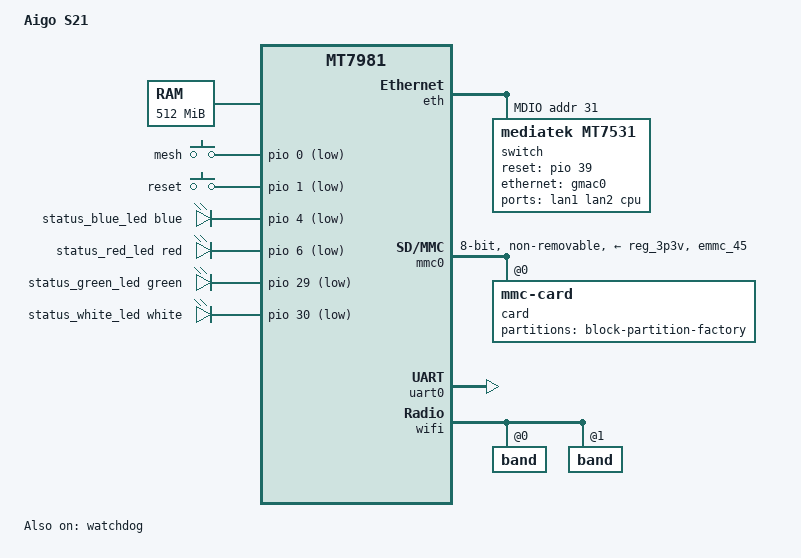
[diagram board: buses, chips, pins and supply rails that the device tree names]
// SPDX-License-Identifier: GPL-2.0-or-later OR MIT

/dts-v1/;
#include <dt-bindings/gpio/gpio.h>
#include <dt-bindings/input/input.h>
#include <dt-bindings/leds/common.h>

#include "mt7981.dtsi"

/ {
	model = "Aigo S21";
	compatible = "aigo,s21", "mediatek,mt7981";

	aliases {
		serial0 = &uart0;
		label-mac-device = &gmac0;
		led-boot = &status_red_led;
		led-failsafe = &status_red_led;
		led-running = &status_blue_led;
		led-upgrade = &status_blue_led;
	};

	chosen {
		bootargs = "root=PARTLABEL=rootfs rootwait";
		stdout-path = "serial0:115200n8";
	};

	memory {
		reg = <0 0x40000000 0 0x20000000>;
	};

	gpio-keys {
		compatible = "gpio-keys";

		button-mesh {
			label = "mesh";
			linux,code = <BTN_9>;
			gpios = <&pio 0 GPIO_ACTIVE_LOW>;
		};

		button-reset {
			label = "reset";
			linux,code = <KEY_RESTART>;
			gpios = <&pio 1 GPIO_ACTIVE_LOW>;
		};
	};

	gpio-leds {
		compatible = "gpio-leds";

		status_blue_led: led-0 {
			function = LED_FUNCTION_STATUS;
			color = <LED_COLOR_ID_BLUE>;
			gpios = <&pio 4 GPIO_ACTIVE_LOW>;
		};

		status_red_led: led-1 {
			function = LED_FUNCTION_STATUS;
			color = <LED_COLOR_ID_RED>;
			gpios = <&pio 6 GPIO_ACTIVE_LOW>;
		};

		status_green_led: led-2 {
			function = LED_FUNCTION_STATUS;
			color = <LED_COLOR_ID_GREEN>;
			gpios = <&pio 29 GPIO_ACTIVE_LOW>;
		};

		status_white_led: led-3 {
			function = LED_FUNCTION_STATUS;
			color = <LED_COLOR_ID_WHITE>;
			gpios = <&pio 30 GPIO_ACTIVE_LOW>;
		};
	};
};

&eth {
	status = "okay";

	gmac0: mac@0 {
		compatible = "mediatek,eth-mac";
		reg = <0>;
		phy-mode = "2500base-x";
		nvmem-cells = <&macaddr_factory_2a 0>;
		nvmem-cell-names = "mac-address";

		fixed-link {
			speed = <2500>;
			full-duplex;
			pause;
		};
	};

	gmac1: mac@1 {
		compatible = "mediatek,eth-mac";
		reg = <1>;
		phy-mode = "gmii";
		phy-handle = <&int_gbe_phy>;
		nvmem-cells = <&macaddr_factory_24 0>;
		nvmem-cell-names = "mac-address";
	};

	mdio: mdio-bus {
		#address-cells = <1>;
		#size-cells = <0>;

		switch@0 {
			compatible = "mediatek,mt7531";
			reg = <31>;
			reset-gpios = <&pio 39 0>;

			ports {
				#address-cells = <1>;
				#size-cells = <0>;

				port@1 {
					reg = <1>;
					label = "lan1";
				};

				port@2 {
					reg = <2>;
					label = "lan2";
				};

				port@6 {
					reg = <6>;
					label = "cpu";
					ethernet = <&gmac0>;
					phy-mode = "2500base-x";

					fixed-link {
						speed = <2500>;
						full-duplex;
						pause;
					};
				};
			};
		};
	};
};

&mmc0 {
	status = "okay";

	pinctrl-names = "default", "state_uhs";
	pinctrl-0 = <&mmc0_pins_default>;
	pinctrl-1 = <&mmc0_pins_uhs>;
	bus-width = <8>;
	max-frequency = <52000000>;
	vmmc-supply = <&reg_3p3v>;
	cap-mmc-highspeed;
	non-removable;
	no-sd;
	no-sdio;

	card@0 {
		compatible = "mmc-card";
		reg = <0>;

		block {
			compatible = "block-device";

			partitions {
				block-partition-factory {
					partname = "factory";

					nvmem-layout {
						compatible = "fixed-layout";
						#address-cells = <1>;
						#size-cells = <1>;

						eeprom_factory_0: eeprom@0 {
							reg = <0x0 0x1000>;
						};

						macaddr_factory_4: macaddr@4 {
							compatible = "mac-base";
							reg = <0x4 0x6>;
							#nvmem-cell-cells = <1>;
						};

						macaddr_factory_24: macaddr@24 {
							compatible = "mac-base";
							reg = <0x24 0x6>;
							#nvmem-cell-cells = <1>;
						};

						macaddr_factory_2a: macaddr@2a {
							compatible = "mac-base";
							reg = <0x2a 0x6>;
							#nvmem-cell-cells = <1>;
						};

						macaddr_factory_30: macaddr@30 {
							compatible = "mac-base";
							reg = <0x30 0x6>;
							#nvmem-cell-cells = <1>;
						};
					};
				};
			};
		};
	};
};

&pio {
	mmc0_pins_default: mmc0-pins-default {
		mux {
			function = "flash";
			groups = "emmc_45";
		};
	};

	mmc0_pins_uhs: mmc0-pins-uhs {
		mux {
			function = "flash";
			groups = "emmc_45";
		};
	};
};

&uart0 {
	status = "okay";
};

&watchdog {
	status = "okay";
};

&wifi {
	status = "okay";
	nvmem-cells = <&eeprom_factory_0>;
	nvmem-cell-names = "eeprom";

	band@0 {
		reg = <0>;
		nvmem-cells = <&macaddr_factory_4 0>;
		nvmem-cell-names = "mac-address";
	};

	band@1 {
		reg = <1>;
		nvmem-cells = <&macaddr_factory_30 0>;
		nvmem-cell-names = "mac-address";
	};
};
